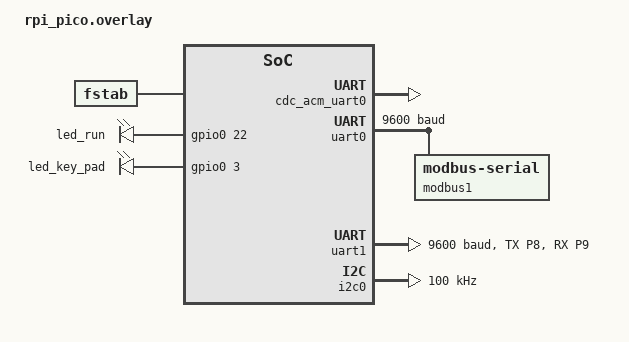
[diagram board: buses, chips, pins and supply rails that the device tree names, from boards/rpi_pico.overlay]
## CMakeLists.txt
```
#
# Copyright (c) 2019 Peter Bigot Consulting, LLC
#
# SPDX-License-Identifier: Apache-2.0
#

cmake_minimum_required(VERSION 3.20.0)
find_package(Zephyr REQUIRED HINTS $ENV{ZEPHYR_BASE})
project(app)

target_compile_definitions(app PRIVATE __RTTHREAD__)

add_subdirectory(src)
add_subdirectory(lib)
```

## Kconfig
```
# Copyright (c) 2019 Peter Bigot Consulting, LLC
# SPDX-License-Identifier: Apache-2.0

mainmenu "Flower Vending Machine"

# rsource "src/Kconfig"

source "Kconfig.zephyr"
```

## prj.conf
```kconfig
# Mina Thread Setting
# CONFIG_MAIN_THREAD_PRIORITY=14
CONFIG_MAIN_STACK_SIZE=4096

# Enable Posix Api
CONFIG_POSIX_API=y
CONFIG_POSIX_FS=y

# Enable c++
CONFIG_CPLUSPLUS=y
CONFIG_CPP_MAIN=y
CONFIG_LIB_CPLUSPLUS=y
# CONFIG_LIBCPP_IMPLEMENTATION=y
CONFIG_HEAP_MEM_POOL_SIZE=10240

# Enable modbus RTU for client
CONFIG_MODBUS=y
CONFIG_MODBUS_ROLE_CLIENT=y

# Enable I2C
CONFIG_I2C=y

# Enable SPI
CONFIG_SPI=y

# Enable REBOOT
CONFIG_REBOOT=y
```

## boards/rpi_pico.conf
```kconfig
# Let __ASSERT do its job
# CONFIG_DEBUG=y

# Logging Setting
CONFIG_LOG=y
CONFIG_LOG_BACKEND_UART=y
CONFIG_LOG_BUFFER_SIZE=2048
CONFIG_LOG_PROCESS_THREAD_STACK_SIZE=4096
# CONFIG_LOG_MODE_MINIMAL=y

# Enable Flash
CONFIG_FLASH=y
CONFIG_FLASH_MAP=y
CONFIG_FLASH_PAGE_LAYOUT=y

# Enable File system
CONFIG_FILE_SYSTEM=y
CONFIG_FILE_SYSTEM_LITTLEFS=y
CONFIG_FS_LITTLEFS_CACHE_SIZE=256
CONFIG_FS_LITTLEFS_PROG_SIZE=32
CONFIG_FS_LITTLEFS_READ_SIZE=32
CONFIG_FS_LITTLEFS_LOOKAHEAD_SIZE=64
CONFIG_FS_LITTLEFS_FC_HEAP_SIZE=4096

# Enable Usb CDC ACM
CONFIG_USB_DEVICE_STACK=y
CONFIG_USB_DEVICE_INITIALIZE_AT_BOOT=y
CONFIG_USB_CDC_ACM_RINGBUF_SIZE=4096
CONFIG_USB_CDC_ACM_LOG_LEVEL_OFF=y
CONFIG_UART_LINE_CTRL=y

# Enable Shell
CONFIG_SHELL=y
CONFIG_SHELL_BACKEND_SERIAL=y
CONFIG_SHELL_LOG_BACKEND=n
CONFIG_SHELL_STACK_SIZE=3168
CONFIG_FILE_SYSTEM_SHELL=y

# Setting shell or log thread priority
# CONFIG_LOG_PROCESS_THREAD_STARTUP_DELAY_MS=5000
# CONFIG_LOG_PROCESS_THREAD_PRIORITY=5
# CONFIG_SHELL_THREAD_PRIORITY_OVERRIDE=y
# CONFIG_SHELL_THREAD_PRIORITY=14

CONFIG_SYSTEM_WORKQUEUE_STACK_SIZE=4096
```

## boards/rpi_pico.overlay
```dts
/ {
	chosen {
		zephyr,usb-device = &zephyr_udc0;
		zephyr,console = &cdc_acm_uart0;
		zephyr,shell-uart = &cdc_acm_uart0;
	};

	fstab {
		compatible = "zephyr,fstab";
		lfs1: lfs1 {
			compatible = "zephyr,fstab,littlefs";
			mount-point = "/root";
			partition = <&storage_partition>;
			automount;
			read-size = <16>;
			prog-size = <16>;
			cache-size = <64>;
			lookahead-size = <32>;
			block-cycles = <512>;
		};
	};

	leds {
		led_run: led_1 {
			gpios = <&gpio0 22 GPIO_ACTIVE_HIGH>;
			label = "led_run";
		};
		led_key_pad: led_2 {
			gpios = <&gpio0 3 GPIO_ACTIVE_HIGH>;
			label = "led_key_pad";
		};
	};
};

&flash0 {

	partitions {
		/*
		 * Usable flash. Starts at 0x100, after the bootloader. The partition
		 * size is 2MB minus the 0x100 bytes taken by the bootloader.
		 */
		code_partition: partition@100 {
			label = "code-partition";
			reg = <0x100 (DT_SIZE_M(1) - 0x100)>;
			read-only;
		};
		storage_partition: partition@100000 {
			label = "storage_partition";
			reg = <0x00100000 0x00100000>;
		};
	};
};

zephyr_udc0: &usbd {
    cdc_acm_uart0: cdc_acm_uart0 {
        compatible = "zephyr,cdc-acm-uart";
    };
};

&uart0 {
	current-speed = <9600>;

	modbus1 {
		compatible = "zephyr,modbus-serial";
		status = "okay";
	};
};

&uart1 {
	current-speed = <9600>;
	status = "okay";
	pinctrl-0 = <&uart1_default>;
    pinctrl-names = "default";
};

&i2c0 {
	clock-frequency = <I2C_BITRATE_STANDARD>;
};

&pinctrl {
	uart1_default: uart1_default {
		group1 {
			pinmux = <UART1_TX_P8>;
		};
		group2 {
			pinmux = <UART1_RX_P9>;
			input-enable;
		};
	};
};
```

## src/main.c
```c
/*
 * Copyright (c) 2022 Lukasz Majewski, DENX Software Engineering GmbH
 * Copyright (c) 2019 Peter Bigot Consulting, LLC
 *
 * SPDX-License-Identifier: Apache-2.0
 */

/* Sample which uses the filesystem API with littlefs */

#include <stdio.h>
#include <fcntl.h>
#include <unistd.h>

#include <zephyr/kernel.h>
#include <zephyr/device.h>
#include <zephyr/logging/log.h>

LOG_MODULE_REGISTER(main);

#define PARTITION_NODE DT_NODELABEL(lfs1)

#if DT_NODE_EXISTS(PARTITION_NODE)
FS_FSTAB_DECLARE_ENTRY(PARTITION_NODE);
#else /* PARTITION_NODE */
FS_LITTLEFS_DECLARE_DEFAULT_CONFIG(storage);
static struct fs_mount_t lfs_storage_mnt = {
	.type = FS_LITTLEFS,
	.fs_data = &storage,
	.storage_dev = (void *)FIXED_PARTITION_ID(storage_partition),
	.mnt_point = "/lfs",
};
#endif /* PARTITION_NODE */

	struct fs_mount_t *mp =
#if DT_NODE_EXISTS(PARTITION_NODE)
		&FS_FSTAB_ENTRY(PARTITION_NODE)
#else
		&lfs_storage_mnt
#endif
		;

static char test_buf[40*1024] = "wrtie sucess";

void main(void)
{
	int fd;
	k_msleep(5000);


	LOG_INF("test start");
	k_msleep(1000);
	while(1) {
		fd = open("/root/test.txt", O_CREAT|O_WRONLY);
		if (fd < 0){
			LOG_INF("file open fail %d", fd);
			break;
		}

		write(fd, test_buf, sizeof(test_buf));
		close(fd);

		char buf[30] = {0,};
		fd = open("/root/test.txt", O_RDONLY);
		read(fd, buf, 12);
		LOG_INF("%s", buf);
		close(fd);
		k_msleep(1);
	}
}
```

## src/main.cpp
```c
/*
 * Copyright (c) 2022 Lukasz Majewski, DENX Software Engineering GmbH
 * Copyright (c) 2019 Peter Bigot Consulting, LLC
 *
 * SPDX-License-Identifier: Apache-2.0
 */

/* Sample which uses the filesystem API with littlefs */

#include <stdio.h>
#include <fcntl.h>
#include <unistd.h>

#include <zephyr/kernel.h>
#include <zephyr/device.h>
#include <zephyr/logging/log.h>

#include <Controller.h>

LOG_MODULE_REGISTER(main);

int main(void)
{
	Controller* ctrl = Controller::getInstance();
	ctrl->setup();

	while(1) {
		ctrl->loop();
	}

	return 0;
}
```
